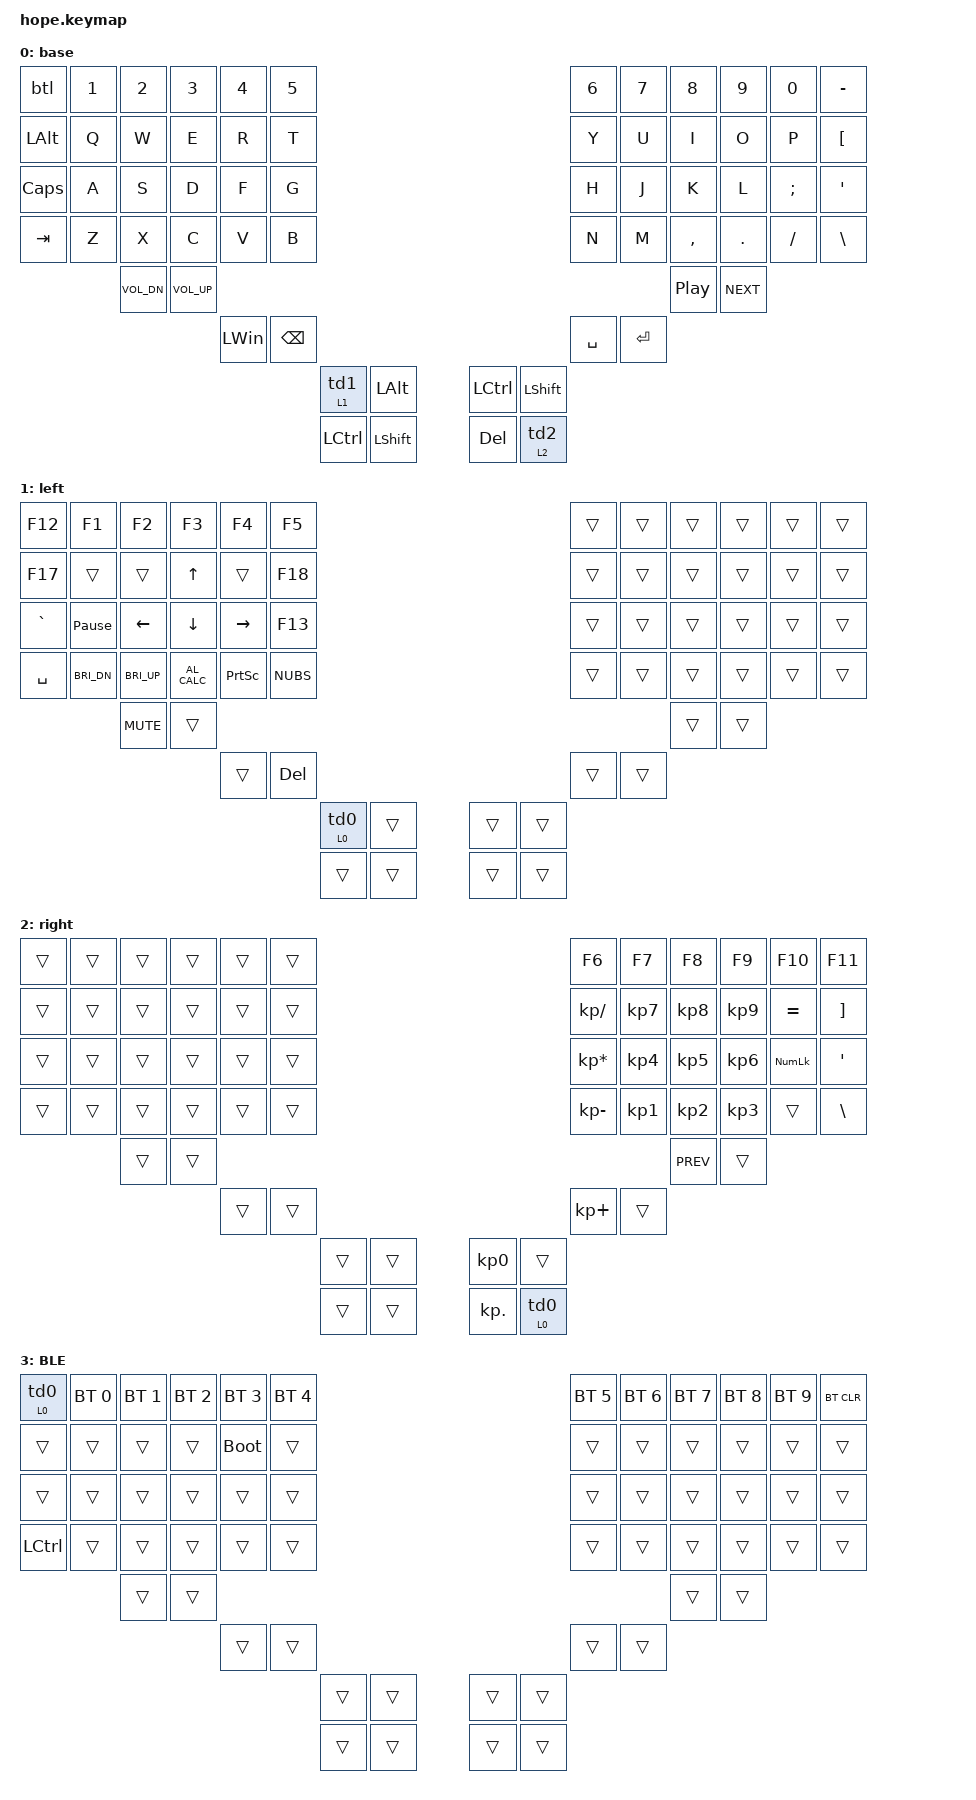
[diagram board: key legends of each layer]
/*
* Copyright (c) 2020 The ZMK Contributors
*
* SPDX-License-Identifier: MIT
*/

#include <behaviors.dtsi>
#include <dt-bindings/zmk/keys.h>
#include <dt-bindings/zmk/bt.h>
#include <dt-bindings/zmk/ext_power.h>
#include "keys_it.h"

/ {
    macros {
    shutdown_popup: shutdown_popup {
        compatible = "zmk,behavior-macro";
        #binding-cells = <0>;
        bindings
            = <&macro_tap &kp LG(D)>      // Win+D to show desktop
            , <&macro_wait_time 1500>    // Wait 200ms
            , <&macro_tap &kp LA(F4)>      // Alt+F4
            ;
    };
};
    behaviors {
        // Tap-dance for layer 0: single tap does nothing, double-tap goes to layer 0
        td0: tap_dance_0 {
            compatible = "zmk,behavior-tap-dance";
            #binding-cells = <0>;
            tapping-term-ms = <300>;
            bindings = <&none>, <&to 0>;
        };
        
        // Tap-dance for layer 1: single tap does nothing, double-tap toggles layer 1
        td1: tap_dance_1 {
            compatible = "zmk,behavior-tap-dance";
            #binding-cells = <0>;
            tapping-term-ms = <300>;
            bindings = <&none>, <&to 1>;
        };
        
        // Tap-dance for layer 2: single tap does nothing, double-tap toggles layer 2
        td2: tap_dance_2 {
            compatible = "zmk,behavior-tap-dance";
            #binding-cells = <0>;
            tapping-term-ms = <300>;
            bindings = <&none>, <&to 2>;
        };
        
        // Hold-tap for layer 1: hold for momentary, tap triggers tap-dance
        lt1: layer_tap_1 {
            compatible = "zmk,behavior-hold-tap";
            #binding-cells = <2>;
            flavor = "hold-preferred";
            tapping-term-ms = <300>;
            bindings = <&mo>, <&td1>;
        };
        
        // Hold-tap for layer 2: hold for momentary, tap triggers tap-dance
        lt2: layer_tap_2 {
            compatible = "zmk,behavior-hold-tap";
            #binding-cells = <2>;
            flavor = "hold-preferred";
            tapping-term-ms = <300>;
            bindings = <&mo>, <&td2>;
        };
        
        // Hold-tap for returning to layer 0: hold for momentary, tap triggers tap-dance
        lt0: layer_tap_0 {
            compatible = "zmk,behavior-hold-tap";
            #binding-cells = <2>;
            flavor = "hold-preferred";
            tapping-term-ms = <300>;
            bindings = <&mo>, <&td0>;
        };
        
        // BLE layer access (keep as tap-dance for multi-tap protection)
        btl: ble_layer {
            compatible = "zmk,behavior-tap-dance";
            #binding-cells = <0>;
            tapping-term-ms = <1000>;
            bindings = <&kp ESC>, <&kp ESC>, <&kp ESC>, <&kp ESC>, <&to 3>;
        };
    };

    keymap {
        compatible = "zmk,keymap";
        
        layer0 {
            label = "base";
            bindings = <
                &btl &kp N1 &kp N2 &kp N3 &kp N4 &kp N5     &kp N6 &kp N7 &kp N8 &kp N9 &kp N0 &kp MINUS 
                &kp LALT &kp Q &kp W &kp E &kp R &kp T        &kp Y &kp U &kp I &kp O &kp P &kp LBKT 
                &kp CAPS &kp A &kp S &kp D &kp F &kp G        &kp H &kp J &kp K &kp L &kp SEMICOLON &kp SQT 
                &kp TAB  &kp Z &kp X &kp C &kp V &kp B            &kp N &kp M &kp COMMA &kp DOT &kp FSLH &kp BSLH 

                &kp C_VOL_DN &kp C_VOL_UP                 &kp C_PP &kp C_NEXT 
                &kp LWIN &kp BSPC                  &kp SPACE &kp RET 
                &lt1 1 0  &kp LALT                         &kp LCTRL  &kp LSHFT 
                &kp LCTRL  &kp LSHFT            &kp DEL &lt2 2 0
            >;
        };
        
        layer1 {
            label = "left";
            bindings = <
                &kp F12 &kp F1 &kp F2 &kp F3 &kp F4 &kp F5                                                              &trans &trans &trans &trans &trans &trans
                &kp F17 &trans &trans &kp UP &trans &kp F18                                                              &trans &trans &trans &trans &trans &trans 
                &kp GRAVE &kp PAUSE_BREAK &kp LEFT &kp DOWN &kp RIGHT &kp F13                                                   &trans &trans &trans &trans &trans &trans 
                &kp SPACE &kp C_BRI_DN &kp C_BRI_UP &kp C_AL_CALC &kp PSCRN &kp NUBS          &trans &trans &trans &trans &trans &trans 

                &kp C_MUTE &trans                                                                                       &trans &trans 
                &trans &kp DELETE                                                                                       &trans &trans 
                &lt0 0 0  &trans                                                                                   &trans &trans 
                &trans &trans                                                                                   &trans &trans
            >;
        };
        
        layer2 {
            label = "right";
            bindings = <
                &trans &trans &trans &trans &trans &trans     &kp F6 &kp F7 &kp F8 &kp F9 &kp F10 &kp F11 
                &trans &trans &trans &trans &trans &trans     &kp KP_SLASH &kp KP_N7 &kp KP_N8 &kp KP_N9 &kp EQUAL &kp RBKT 
                &trans &trans &trans &trans &trans &trans     &kp KP_ASTERISK &kp KP_N4 &kp KP_N5 &kp KP_N6 &kp KP_NUMLOCK &kp SQT 
                &trans &trans &trans &trans &trans &trans     &kp KP_MINUS &kp KP_N1 &kp KP_N2 &kp KP_N3 &trans &kp BSLH 
                &trans &trans                                       &kp C_PREV &trans 
                &trans &trans                                       &kp KP_PLUS &trans 
                &trans &trans                                       &kp KP_N0 &trans 
                &trans &trans                                       &kp KP_DOT &lt0 0 0
            >;
        };
        
        layer3 {
            label = "BLE";
            bindings = <
                &lt0 0 0   &bt BT_SEL 0 &bt BT_SEL 1 &bt BT_SEL 2 &bt BT_SEL 3 &bt BT_SEL 4     &bt BT_SEL 5 &bt BT_SEL 6 &bt BT_SEL 7 &bt BT_SEL 8  &bt BT_SEL 9 &bt BT_CLR
                &trans &trans &trans &trans &bootloader &trans                                   &trans &trans &trans &trans &trans &trans
                &trans &trans &trans &trans &trans &trans                                   &trans &trans &trans &trans &trans &trans
                &kp LCTRL &trans &trans &trans &trans &trans                                   &trans &trans &trans &trans &trans &trans 
                &trans &trans                                                               &trans &trans               
                &trans &trans                                                 &trans &trans                                   
                &trans &trans                                       &trans &trans         
                &trans &trans                                       &trans &trans
            >;
        };

        extra1 {
            status = "reserved";
        };
        extra2 {
            status = "reserved";
        };
    };
};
